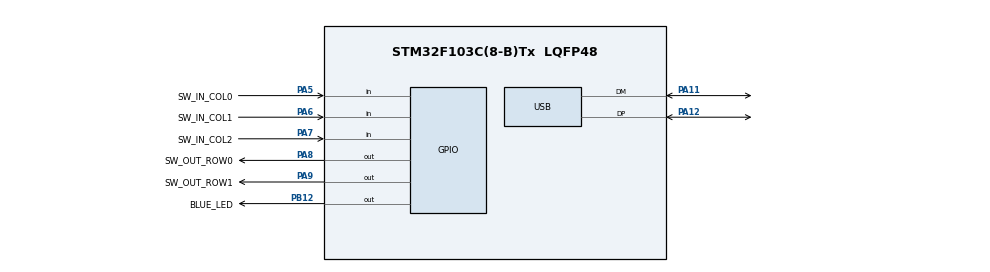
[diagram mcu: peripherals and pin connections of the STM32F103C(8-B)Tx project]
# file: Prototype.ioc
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Mcu.Family=STM32F1
RCC.PLLSourceVirtual=RCC_PLLSOURCE_HSE
USB_DEVICE.CLASS_NAME_FS=HID
PD1-OSC_OUT.Mode=HSE-External-Oscillator
USB_DEVICE.VirtualModeFS=Hid_FS
PA9.GPIO_Label=SW_OUT_ROW1
RCC.USBPrescaler=RCC_USBCLKSOURCE_PLL_DIV1_5
PA11.Mode=Device
PA6.GPIO_Label=SW_IN_COL1
PD0-OSC_IN.Signal=RCC_OSC_IN
RCC.APB1CLKDivider=RCC_HCLK_DIV2
RCC.SYSCLKSource=RCC_SYSCLKSOURCE_PLLCLK
ProjectManager.StackSize=0x400
PD1-OSC_OUT.Signal=RCC_OSC_OUT
PA13.Signal=SYS_JTMS-SWDIO
PA12.Signal=USB_DP
PA8.GPIO_Label=SW_OUT_ROW0
ProjectManager.TargetToolchain=STM32CubeIDE
RCC.HCLKFreq_Value=72000000
RCC.APB2TimFreq_Value=72000000
PA9.Signal=GPIO_Output
RCC.USBFreq_Value=48000000
RCC.AHBFreq_Value=72000000
PD0-OSC_IN.Mode=HSE-External-Oscillator
PA5.Signal=GPIO_Input
PB3.Mode=Trace_Asynchronous_SW
board=custom
RCC.PLLMUL=RCC_PLL_MUL9
PB12.GPIO_Label=BLUE_LED
VP_USB_DEVICE_VS_USB_DEVICE_HID_FS.Mode=HID_FS
RCC.APB2Freq_Value=72000000
PA14.Mode=Trace_Asynchronous_SW
NVIC.USB_LP_CAN1_RX0_IRQn=true\:0\:0\:false\:false\:true\:false\:true
PA8.Signal=GPIO_Output
PA13.Mode=Trace_Asynchronous_SW
Mcu.Name=STM32F103C(8-B)Tx
PB3.Signal=SYS_JTDO-TRACESWO
RCC.SYSCLKFreq_VALUE=72000000
Mcu.Package=LQFP48
PA6.Signal=GPIO_Input
PA7.GPIO_Label=SW_IN_COL2
PA12.Mode=Device
PA5.GPIO_Label=SW_IN_COL0
PA11.Signal=USB_DM
PA14.Signal=SYS_JTCK-SWCLK
ProjectManager.HeapSize=0x200
USB_DEVICE.HID_FS_BINTERVAL=0x1
NVIC.PriorityGroup=NVIC_PRIORITYGROUP_4
RCC.APB1TimFreq_Value=72000000
RCC.APB1Freq_Value=36000000
USB_DEVICE.VirtualMode=Hid
PB12.Signal=GPIO_Output
PA7.Signal=GPIO_Input

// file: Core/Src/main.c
/* USER CODE BEGIN Header */
/**
  ******************************************************************************
  * @file           : main.c
  * @brief          : Main program body
  ******************************************************************************
  * @attention
  *
  * <h2><center>&copy; Copyright (c) 2021 STMicroelectronics.
  * All rights reserved.</center></h2>
  *
  * This software component is licensed by ST under BSD 3-Clause license,
  * the "License"; You may not use this file except in compliance with the
  * License. You may obtain a copy of the License at:
  *                        opensource.org/licenses/BSD-3-Clause
  *
  ******************************************************************************
  */
/* USER CODE END Header */
#include "main.h"
#include "usb_device.h"
#include "gpio.h"

/* USER CODE BEGIN Includes */
#include <stdio.h>
#include <stdint.h>
#include <stdbool.h>
#include "usbd_hid.h"
/* USER CODE END Includes */

void SystemClock_Config(void);

/* USER CODE BEGIN 0 */
int _write(int file, char *ptr, int len)
{
  int DataIdx;
  for(DataIdx=0; DataIdx<len; DataIdx++)
  {
    ITM_SendChar(*ptr++);
  }
  return len;
}
/* USER CODE END 0 */

int main(void)
{

  /* MCU Configuration--------------------------------------------------------*/

  /* Reset of all peripherals, Initializes the Flash interface and the Systick. */
  HAL_Init();

  /* Configure the system clock */
  SystemClock_Config();

  /* Initialize all configured peripherals */
  MX_GPIO_Init();
  MX_USB_DEVICE_Init();
  /* USER CODE BEGIN 2 */
  uint32_t uiDebugTime = 0u;
  uint32_t uiLedTime = 0u;
  uint8_t ucSwState[6];
  bool bSwToggle = false;
  const uint32_t uiPeriod = 1u;

  typedef struct{
	  uint8_t ucId;
	  uint8_t ucModifiers;
	  uint8_t reserved;
	  uint8_t ucKey[6];
  }KeyboardHID_t;
  KeyboardHID_t stkeyboardData;

  stkeyboardData.ucId = 1;
  stkeyboardData.ucModifiers = 0;
  stkeyboardData.reserved = 0;
  for(uint8_t i = 0; i < 6; i++)  stkeyboardData.ucKey[i] = 0;

  /* USER CODE END 2 */

  /* Infinite loop */
  while (1)
  {

    /* USER CODE BEGIN 3 */
	  if(!bSwToggle){
		  LL_GPIO_SetOutputPin(SW_OUT_ROW0_GPIO_Port, SW_OUT_ROW0_Pin);
		  LL_GPIO_ResetOutputPin(SW_OUT_ROW1_GPIO_Port, SW_OUT_ROW1_Pin);
		  ucSwState[0] = LL_GPIO_IsInputPinSet(SW_IN_COL0_GPIO_Port, SW_IN_COL0_Pin);
		  ucSwState[1] = LL_GPIO_IsInputPinSet(SW_IN_COL1_GPIO_Port, SW_IN_COL1_Pin);
		  ucSwState[2] = LL_GPIO_IsInputPinSet(SW_IN_COL2_GPIO_Port, SW_IN_COL2_Pin);
	  }else{
		  LL_GPIO_SetOutputPin(SW_OUT_ROW1_GPIO_Port, SW_OUT_ROW1_Pin);
		  LL_GPIO_ResetOutputPin(SW_OUT_ROW0_GPIO_Port, SW_OUT_ROW0_Pin);
		  ucSwState[3] = LL_GPIO_IsInputPinSet(SW_IN_COL0_GPIO_Port, SW_IN_COL0_Pin);
		  ucSwState[4] = LL_GPIO_IsInputPinSet(SW_IN_COL1_GPIO_Port, SW_IN_COL1_Pin);
		  ucSwState[5] = LL_GPIO_IsInputPinSet(SW_IN_COL2_GPIO_Port, SW_IN_COL2_Pin);
	  }
	  bSwToggle = !bSwToggle;

	  //USB転送
	  //ref : https://wiki.onakasuita.org/pukiwiki/?HID%2Fキーコード
	  stkeyboardData.ucKey[0] = (ucSwState[0]) ? 0x04 : 0;	//input a
	  USBD_HID_SendReport(MX_USB_DEVICE_GetHandlePtr(), (uint8_t *)&stkeyboardData, sizeof(stkeyboardData));

	  if(uiDebugTime >= 100u){
		  uiDebugTime = 0u;
		  printf("%d, %d, %d, %d, %d, %d\n", ucSwState[0]
										   , stkeyboardData.ucKey[0]
										   , ucSwState[2]
										   , ucSwState[3]
										   , ucSwState[4]
										   , ucSwState[5]);
	  }else{
		  uiDebugTime += uiPeriod;
	  }

	  if(uiLedTime >= 500u){
		  LL_GPIO_TogglePin(BLUE_LED_GPIO_Port, BLUE_LED_Pin);
		  uiLedTime = 0u;
	  }else{
		 uiLedTime += uiPeriod;
	  }

	  LL_mDelay(uiPeriod);
  }
  /* USER CODE END 3 */
}

void SystemClock_Config(void)
{
  LL_FLASH_SetLatency(LL_FLASH_LATENCY_2);
  while(LL_FLASH_GetLatency()!= LL_FLASH_LATENCY_2)
  {
  }
  LL_RCC_HSE_Enable();

   /* Wait till HSE is ready */
  while(LL_RCC_HSE_IsReady() != 1)
  {

  }
  LL_RCC_PLL_ConfigDomain_SYS(LL_RCC_PLLSOURCE_HSE_DIV_1, LL_RCC_PLL_MUL_9);
  LL_RCC_PLL_Enable();

   /* Wait till PLL is ready */
  while(LL_RCC_PLL_IsReady() != 1)
  {

  }
  LL_RCC_SetAHBPrescaler(LL_RCC_SYSCLK_DIV_1);
  LL_RCC_SetAPB1Prescaler(LL_RCC_APB1_DIV_2);
  LL_RCC_SetAPB2Prescaler(LL_RCC_APB2_DIV_1);
  LL_RCC_SetSysClkSource(LL_RCC_SYS_CLKSOURCE_PLL);

   /* Wait till System clock is ready */
  while(LL_RCC_GetSysClkSource() != LL_RCC_SYS_CLKSOURCE_STATUS_PLL)
  {

  }
  LL_SetSystemCoreClock(72000000);

   /* Update the time base */
  if (HAL_InitTick (TICK_INT_PRIORITY) != HAL_OK)
  {
    Error_Handler();
  }
  LL_RCC_SetUSBClockSource(LL_RCC_USB_CLKSOURCE_PLL_DIV_1_5);
}

void Error_Handler(void)
{
  __disable_irq();
  while (1)
  {
  }
}

/************************ (C) COPYRIGHT STMicroelectronics *****END OF FILE****/
